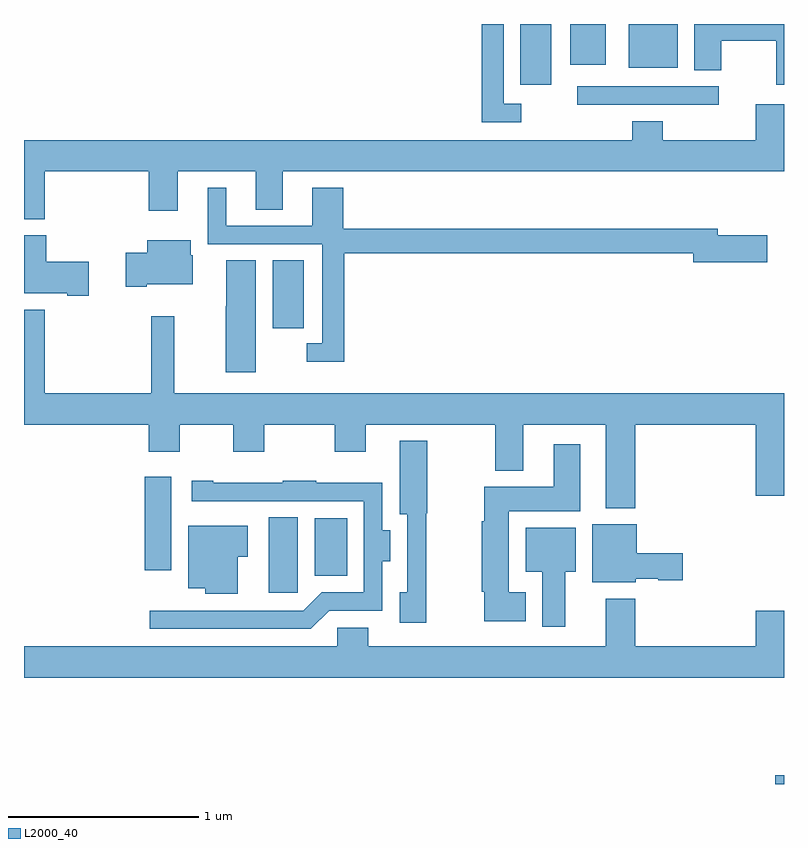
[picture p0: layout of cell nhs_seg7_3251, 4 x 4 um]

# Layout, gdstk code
import gdstk
lib = gdstk.Library(unit=1e-6, precision=1e-09)
def R(c, l, rs):  # rectangles x0, y0, x1, y1
    for r in rs: c.add(gdstk.rectangle(r[:2], r[2:], *l))
def P(c, l, *ps):  # polygons
    for p in ps: c.add(gdstk.Polygon(p, *l))
L2000_40 = (2000, 40)

nhs_seg7_3251 = lib.new_cell('nhs_seg7_3251')
R(nhs_seg7_3251, L2000_40, [(320.954,1056,321,1056.046), (318.287,1057.007,318.442,1057.403), (318.53,1057.097,318.7,1057.399), (317.636,1057.125,317.776,1057.618), (318.308,1058.4,318.472,1058.756), (319.911,1059.576,320.656,1059.672), (319.613,1059.681,319.774,1060), (320.183,1059.77,320.44,1060), (319.874,1059.785,320.062,1060)])
P(nhs_seg7_3251, L2000_40, [(319.618,1059.579),(319.524,1059.579),(319.524,1060),(319.408,1060),(319.408,1059.483),(319.618,1059.483)],
  [(321,1060),(320.528,1060),(320.528,1059.757),(320.67,1059.757),(320.67,1059.912),(320.959,1059.912),(320.959,1059.681),(321,1059.681)],
  [(317,1058.972),(317.108,1058.972),(317.108,1059.224),(317.657,1059.224),(317.657,1059.018),(317.809,1059.018),(317.809,1059.224),(318.221,1059.224),(318.221,1059.022),(318.361,1059.022),(318.361,1059.224),(321,1059.224),(321,1059.577),(320.852,1059.577),(320.852,1059.388),(320.361,1059.388),(320.361,1059.487),(320.201,1059.487),(320.201,1059.388),(317,1059.388)],
  [(318.686,1058.794),(320.522,1058.794),(320.522,1058.747),(320.911,1058.747),(320.911,1058.889),(320.65,1058.889),(320.65,1058.923),(318.68,1058.923),(318.68,1059.139),(318.518,1059.139),(318.518,1058.937),(318.064,1058.937),(318.064,1059.139),(317.966,1059.139),(317.966,1058.841),(318.57,1058.841),(318.57,1058.319),(318.489,1058.319),(318.489,1058.222),(318.686,1058.222)],
  [(317.341,1058.748),(317.116,1058.748),(317.116,1058.887),(317,1058.887),(317,1058.582),(317.228,1058.582),(317.228,1058.57),(317.341,1058.57)],
  [(317.647,1058.63),(317.887,1058.63),(317.887,1058.784),(317.878,1058.784),(317.878,1058.863),(317.648,1058.863),(317.648,1058.796),(317.535,1058.796),(317.535,1058.618),(317.647,1058.618)],
  [(318.22,1058.756),(318.065,1058.756),(318.065,1058.514),(318.062,1058.514),(318.062,1058.166),(318.22,1058.166)],
  [(320.216,1057.892),(320.852,1057.892),(320.852,1057.518),(321,1057.518),(321,1058.056),(317.792,1058.056),(317.792,1058.461),(317.671,1058.461),(317.671,1058.056),(317.108,1058.056),(317.108,1058.497),(317,1058.497),(317,1057.892),(317.657,1057.892),(317.657,1057.749),(317.821,1057.749),(317.821,1057.892),(318.101,1057.892),(318.101,1057.749),(318.265,1057.749),(318.265,1057.892),(318.635,1057.892),(318.635,1057.749),(318.799,1057.749),(318.799,1057.892),(319.48,1057.892),(319.48,1057.649),(319.627,1057.649),(319.627,1057.892),(320.063,1057.892),(320.063,1057.451),(320.216,1057.451)],
  [(319.118,1057.425),(319.122,1057.425),(319.122,1057.807),(318.977,1057.807),(318.977,1057.421),(319.017,1057.421),(319.017,1057.009),(318.977,1057.009),(318.977,1056.849),(319.118,1056.849)],
  [(319.642,1057.009),(319.552,1057.009),(319.552,1057.436),(319.927,1057.436),(319.927,1057.789),(319.787,1057.789),(319.787,1057.564),(319.423,1057.564),(319.423,1057.383),(319.409,1057.383),(319.409,1057.011),(319.423,1057.011),(319.423,1056.857),(319.642,1056.857)],
  [(318.606,1056.912),(318.886,1056.912),(318.886,1057.172),(318.928,1057.172),(318.928,1057.336),(318.885,1057.336),(318.885,1057.585),(318.539,1057.585),(318.539,1057.597),(318.361,1057.597),(318.361,1057.585),(317.995,1057.585),(317.995,1057.597),(317.883,1057.597),(317.883,1057.488),(318.789,1057.488),(318.789,1057.008),(318.567,1057.008),(318.471,1056.912),(317.661,1056.912),(317.661,1056.816),(318.51,1056.816)],
  [(320.22,1057.079),(320.337,1057.079),(320.337,1057.072),(320.467,1057.072),(320.467,1057.214),(320.224,1057.214),(320.224,1057.366),(319.991,1057.366),(319.991,1057.061),(320.22,1057.061)],
  [(318.124,1057.196),(318.178,1057.196),(318.178,1057.36),(317.864,1057.36),(317.864,1057.031),(317.954,1057.031),(317.954,1057.001),(318.124,1057.001)],
  [(319.849,1057.118),(319.903,1057.118),(319.903,1057.348),(319.64,1057.348),(319.64,1057.118),(319.727,1057.118),(319.727,1056.828),(319.849,1056.828)],
  [(321,1056.913),(320.852,1056.913),(320.852,1056.724),(320.216,1056.724),(320.216,1056.976),(320.063,1056.976),(320.063,1056.724),(318.812,1056.724),(318.812,1056.822),(318.648,1056.822),(318.648,1056.724),(317,1056.724),(317,1056.56),(321,1056.56)])

lib.write_gds('nhs_seg7_3251.gds')
